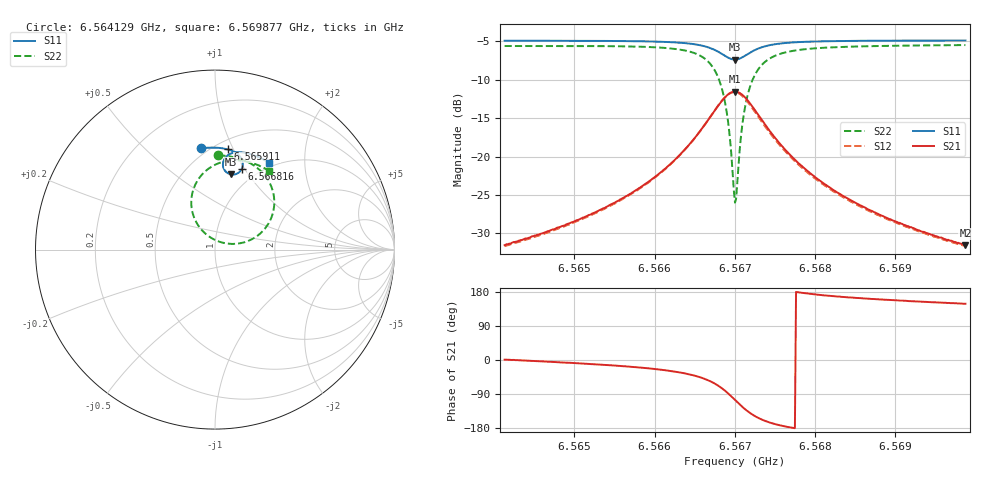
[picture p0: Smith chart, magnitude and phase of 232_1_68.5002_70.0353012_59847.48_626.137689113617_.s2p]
#  HZ  S  RI  R  50.00
! Rohde & Schwarz Vector Network Analyzer
! Rohde-Schwarz,ZNB20-2Port,1311601062101988,3.16
! Created: UTC 3/20/2024, 4:58:59 PM
! freq[Hz]  re:S11  im:S11  re:S21  im:S21  re:S12  im:S12  re:S22  im:S22
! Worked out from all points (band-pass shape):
!   401 points, 6.564129 GHz to 6.569877 GHz, reference 50 ohm
!   highest |S21| = -11.53 dB at 6.567003 GHz (marker M1); lowest = -31.6 dB at 6.569877 GHz (marker M2)
!   |S21| within 3 dB of the highest: 6.566716 GHz to 6.56729 GHz (574.1 kHz wide, 0.00874 % of centre)
!   lowest |S11| = -7.4 dB at 6.567003 GHz (marker M3), VSWR 2.50, Z = 40.5 + j41.6 ohm
!   |S11| at or under -10 dB: nowhere
!   |S22| runs from -26.0 to -5.5 dB; largest |S21 - S12| = 0.012
!   S11 on the Smith chart (normalised r, x): 6.564129 GHz: 0.46, +0.76; 6.565911 GHz: 0.58, +0.95; 6.566816 GHz: 0.84, +0.97; 6.569877 GHz: 0.93, +1.34
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6.5641295e9  -0.0801 0.5635  0.0264 0.000445  0.026 -3.48e-05  0.0188 0.525
6.5650921e9  -0.00212 0.5681  0.0391 -0.00654  0.0384 -0.00694  0.1075 0.5142
6.5659111e9  0.072 0.5583  0.0629 -0.0251  0.0619 -0.0259  0.2069 0.4749
6.5660548e9  0.0866 0.5537  0.0698 -0.0325  0.0688 -0.0334  0.2296 0.4597
6.5663709e9  0.1219 0.5356  0.0901 -0.063  0.0886 -0.0645  0.2881 0.3992
6.5665864e9  0.1462 0.5085  0.1031 -0.11  0.1009 -0.1122  0.3262 0.3085
6.5667157e9  0.1549 0.4801  0.0987 -0.1597  0.0949 -0.1627  0.3249 0.2137
6.5668163e9  0.1497 0.4507  0.0725 -0.2104  0.0657 -0.2133  0.2792 0.1183
6.5669025e9  0.129 0.4268  0.0201 -0.2496  0.0102 -0.2502  0.1842 0.0479
6.5669313e9  0.1182 0.4213  -0.00389 -0.2573  -0.0145 -0.2563  0.1409 0.0356
6.5669887e9  0.0939 0.4182  -0.0572 -0.2584  -0.068 -0.2539  0.0465 0.0377
6.5670031e9  0.0877 0.4191  -0.0704 -0.2556  -0.081 -0.2499  0.0231 0.0443
6.5670318e9  0.0757 0.4234  -0.096 -0.2457  -0.1056 -0.2383  -0.0202 0.0646
6.5670893e9  0.0565 0.4385  -0.1372 -0.2135  -0.1439 -0.2039  -0.0876 0.1258
6.5671324e9  0.0479 0.4533  -0.157 -0.1836  -0.1615 -0.1733  -0.1173 0.1808
6.5671899e9  0.0441 0.4737  -0.1697 -0.1436  -0.171 -0.1336  -0.132 0.2519
6.5672617e9  0.0481 0.4954  -0.1696 -0.1007  -0.1684 -0.0923  -0.1233 0.3262
6.5673767e9  0.0639 0.5193  -0.1525 -0.0538  -0.15 -0.048  -0.083 0.4054
6.5675204e9  0.0871 0.5345  -0.1271 -0.0219  -0.1242 -0.0183  -0.0269 0.457
6.5679658e9  0.1456 0.5425  -0.0754 0.0079  -0.0737 0.00916  0.0937 0.4971
6.5689285e9  0.2325 0.5198  -0.0363 0.0143  -0.0357 0.0146  0.223 0.4772
6.5698768e9  0.3013 0.485  -0.0225 0.0138  -0.0221 0.0139  0.3027 0.4386
